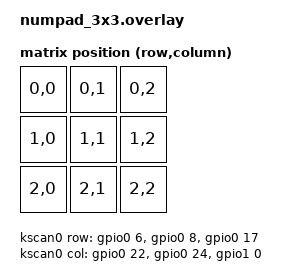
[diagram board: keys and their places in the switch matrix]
/ {
    chosen {
        zmk,kscan = &kscan0;
        zmk,layout = &default_layout;
    };

    kscan0: kscan0 {
    compatible = "zmk,kscan-gpio-matrix";
-   diode-direction = "col2row";
+   diode-direction = "row2col";
    debounce-press-ms = <5>;
    debounce-release-ms = <5>;

-   row-gpios = <&gpio0 6 GPIO_ACTIVE_HIGH>,
-               <&gpio0 8 GPIO_ACTIVE_HIGH>,
-               <&gpio0 17 GPIO_ACTIVE_HIGH>;
+   row-gpios = <&gpio0 6 (GPIO_ACTIVE_HIGH | GPIO_PULL_UP)>,
+               <&gpio0 8 (GPIO_ACTIVE_HIGH | GPIO_PULL_UP)>,
+               <&gpio0 17 (GPIO_ACTIVE_HIGH | GPIO_PULL_UP)>;

    col-gpios = <&gpio0 22 GPIO_ACTIVE_HIGH>,
                <&gpio0 24 GPIO_ACTIVE_HIGH>,
                <&gpio1 0  GPIO_ACTIVE_HIGH>;
};

    default_transform: keymap_transform {
        compatible = "zmk,matrix-transform";
        rows = <3>;
        columns = <3>;
        map = <
            RC(0,0) RC(0,1) RC(0,2)
            RC(1,0) RC(1,1) RC(1,2)
            RC(2,0) RC(2,1) RC(2,2)
        >;
    };

    default_layout: keymap {
        compatible = "zmk,physical-layout";
        matrix-transform = <&default_transform>;
        kscan = <&kscan0>;
    };
};
